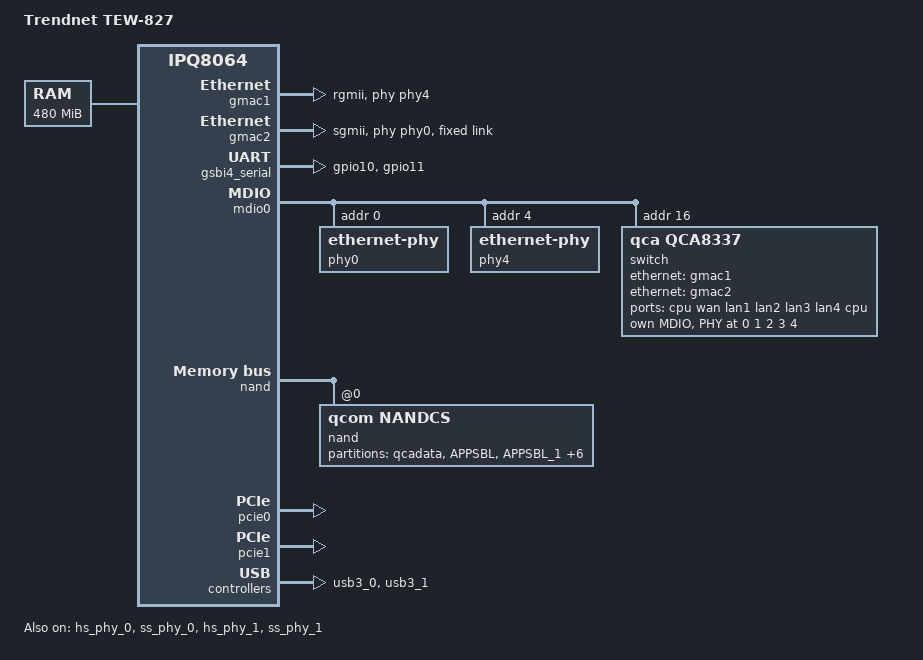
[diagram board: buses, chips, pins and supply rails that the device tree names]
// SPDX-License-Identifier: GPL-2.0
#include "qcom-ipq8064-v2.0-smb208.dtsi"

#include <dt-bindings/input/input.h>
#include <dt-bindings/soc/qcom,tcsr.h>

/ {
	compatible = "trendnet,tew-827", "qcom,ipq8064";
	model = "Trendnet TEW-827";

	aliases {
		ethernet0 = &gmac1;
		ethernet1 = &gmac0;
	};


	/delete-node/ memory;
	memory {
		device_type = "memory";
		linux,usable-memory = <0x40000000 0x1e000000>;
	};

	memory@0 {
		reg = <0x42000000 0x1e000000>;
		linux,usable-memory = <0x40000000 0x1e000000>;
		device_type = "memory";
	};

	reserved-memory {
		#address-cells = <1>;
		#size-cells = <1>;
		ranges;
		rsvd@41200000 {
			reg = <0x41200000 0x300000>;
			no-map;
		};
	};

	chosen {
		bootargs-override = "console=ttyMSM0,115200n8 nohz_full=all pci=pcie_bus_perf rootfstype=squashfs noinitrd earlyprintk";
		stdout-path = "serial0:115200n8";
	};
};

&adm_dma {
	status = "okay";
};

&gmac1 {
	status = "okay";
	qcom,phy-mdio-addr = <4>;
	qcom,poll-required = <1>;
	qcom,rgmii-delay = <1>;

	pinctrl-0 = <&rgmii2_pins>;
	pinctrl-names = "default";

	phy-mode = "rgmii";
	qcom,id = <1>;

	phy-handle = <&phy4>;
	mtd-mac-address = <&art 6>;
};

&gmac2 {
	status = "okay";
	phy-mode = "sgmii";
	qcom,id = <2>;
	qcom,phy-mdio-addr = <0>;
	qcom,poll-required = <1>;
	qcom,rgmii-delay = <0>;

	mtd-mac-address = <&art 0>;
	phy-handle = <&phy0>;

	fixed-link {
		speed = <1000>;
		full-duplex;
	};

};

&gsbi4_serial {
	pinctrl-0 = <&uart0_pins>;
	pinctrl-names = "default";
};

&mdio0 {
	status = "okay";

	pinctrl-0 = <&mdio0_pins>;
	pinctrl-names = "default";

	phy0: ethernet-phy@0 {
		reg = <0>;
	};

	phy4: ethernet-phy@4 {
		reg = <4>;
	};

	switch@10 {
		compatible = "qca,qca8337";
		#address-cells = <1>;
		#size-cells = <0>;
		reg = <0x10>;

		ports {
			#address-cells = <1>;
			#size-cells = <0>;

			port@0 {
				reg = <0>;
				label = "cpu";
				ethernet = <&gmac1>;
				phy-mode = "rgmii";
				tx-internal-delay-ps = <1000>;
				rx-internal-delay-ps = <1000>;

				fixed-link {
					speed = <1000>;
					full-duplex;
				};
			};

			port@1 {
				reg = <1>;
				label = "wan";
				phy-mode = "internal";
				phy-handle = <&phy_port1>;
			};

			port@2 {
				reg = <2>;
				label = "lan1";
				phy-mode = "internal";
				phy-handle = <&phy_port2>;
			};

			port@3 {
				reg = <3>;
				label = "lan2";
				phy-mode = "internal";
				phy-handle = <&phy_port3>;
			};

			port@4 {
				reg = <4>;
				label = "lan3";
				phy-mode = "internal";
				phy-handle = <&phy_port4>;
			};

			port@5 {
				reg = <5>;
				label = "lan4";
				phy-mode = "internal";
				phy-handle = <&phy_port5>;
			};

			port@6 {
				reg = <6>;
				label = "cpu";
				ethernet = <&gmac2>;
				phy-mode = "sgmii";
				qca,sgmii-enable-pll;

				fixed-link {
					speed = <1000>;
					full-duplex;
				};
			};
		};

		mdio {
			#address-cells = <1>;
			#size-cells = <0>;

			phy_port1: phy@0 {
				reg = <0>;
			};

			phy_port2: phy@1 {
				reg = <1>;
			};

			phy_port3: phy@2 {
				reg = <2>;
			};

			phy_port4: phy@3 {
				reg = <3>;
			};

			phy_port5: phy@4 {
				reg = <4>;
			};
		};
	};

};

&nand {
	status = "okay";

	nand@0 {
		reg = <0>;
		compatible = "qcom,nandcs";

		nand-ecc-strength = <4>;
		nand-bus-width = <8>;
		nand-ecc-step-size = <512>;

		nand-is-boot-medium;
		qcom,boot-partitions = <0x0 0x1180000>;

		partitions {
			compatible = "fixed-partitions";
			#address-cells = <1>;
			#size-cells = <1>;
			qcadata@0 {
				label = "qcadata";
				reg = <0x0000000 0x0c80000>;
				read-only;
			};

			APPSBL@c80000 {
				label = "APPSBL";
				reg = <0x0c80000 0x0500000>;
				read-only;
			};

			APPSBL_1@53a0000 {
				label = "APPSBL_1";
				reg = <0x53a0000 0x0500000>;
				read-only;
			};

			APPSBLENV@1180000 {
				label = "APPSBLENV";
				reg = <0x1180000 0x0080000>;
			};

			BOOTCONFIG@5340000 {
				label = "BOOTCONFIG";
				reg = <0x5340000 0x0060000>;
			};

			art: art@1200000 {
				label = "art";
				reg = <0x1200000 0x0140000>;
			};

			firmware@1340000 {
				label = "linux";
				reg = <0x1340000 0x4000000>;
			};

			firmware2@58a0000 {
				label = "linux2";
				reg = <0x58a0000 0x4000000>;
			};

			nvram@98a0000 {
				label = "nvram";
				reg = <0x98a0000 0x40000>;
			};

		};
	};
};

&pcie0 {
	status = "okay";
};

&pcie1 {
	status = "okay";
};

&qcom_pinmux {
	led_pins: led_pins {
		mux {
			pins = "gpio7", "gpio8", "gpio9", "gpio26";
			function = "gpio";
			drive-strength = <2>;
			bias-pull-up;
		};
	};

	button_pins: button_pins {
		mux {
			pins = "gpio15", "gpio16", "gpio64", "gpio65";
			function = "gpio";
			drive-strength = <2>;
			bias-pull-up;
		};
	};

	uart0_pins: uart0_pins {
		mux {
			pins = "gpio10", "gpio11";
			function = "gsbi4";
			drive-strength = <10>;
			bias-disable;
		};
	};
};

&rpm {
	pinctrl-0 = <&i2c4_pins>;
	pinctrl-names = "default";
};

&hs_phy_0 {
	status = "okay";
};

&ss_phy_0 {
	status = "okay";
};

&usb3_0 {
	status = "okay";
};

&hs_phy_1 {
	status = "okay";
};

&ss_phy_1 {
	status = "okay";
};

&usb3_1 {
	status = "okay";
};

&tcsr {
	qcom,usb-ctrl-select = <TCSR_USB_SELECT_USB3_DUAL>;
};

/delete-node/ &pcie2_pins;
/delete-node/ &pcie2;
